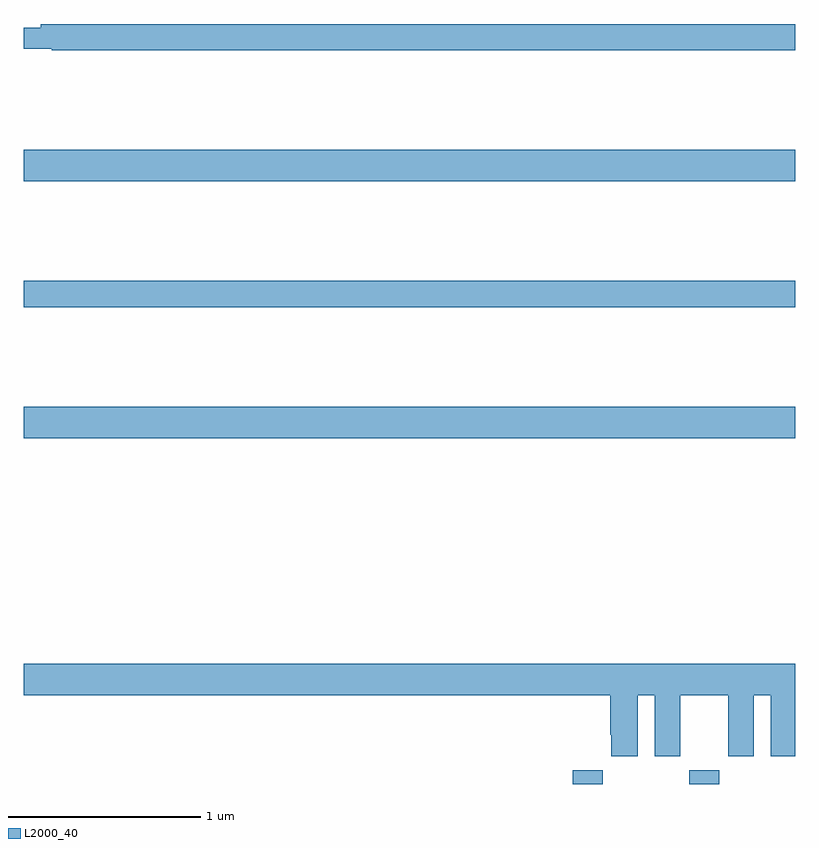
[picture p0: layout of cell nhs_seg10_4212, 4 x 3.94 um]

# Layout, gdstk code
import gdstk
lib = gdstk.Library(unit=1e-6, precision=1e-09)
def R(c, l, rs):  # rectangles x0, y0, x1, y1
    for r in rs: c.add(gdstk.rectangle(r[:2], r[2:], *l))
def P(c, l, *ps):  # polygons
    for p in ps: c.add(gdstk.Polygon(p, *l))
L2000_40 = (2000, 40)

nhs_seg10_4212 = lib.new_cell('nhs_seg10_4212')
R(nhs_seg10_4212, L2000_40, [(347.846,1322.5,348.001,1322.572), (348.451,1322.5,348.606,1322.572), (345,1324.292,349,1324.456), (345,1324.972,349,1325.108), (345,1325.624,349,1325.788)])
P(nhs_seg10_4212, L2000_40, [(349,1326.44),(345.088,1326.44),(345.088,1326.421),(345,1326.421),(345,1326.312),(345.145,1326.312),(345.145,1326.304),(349,1326.304)],
  [(348.184,1322.96),(348.272,1322.96),(348.272,1322.643),(348.403,1322.643),(348.403,1322.96),(348.653,1322.96),(348.653,1322.643),(348.784,1322.643),(348.784,1322.96),(348.872,1322.96),(348.872,1322.643),(349,1322.643),(349,1323.124),(345,1323.124),(345,1322.96),(348.041,1322.96),(348.041,1322.755),(348.047,1322.755),(348.047,1322.643),(348.184,1322.643)])

lib.write_gds('nhs_seg10_4212.gds')
